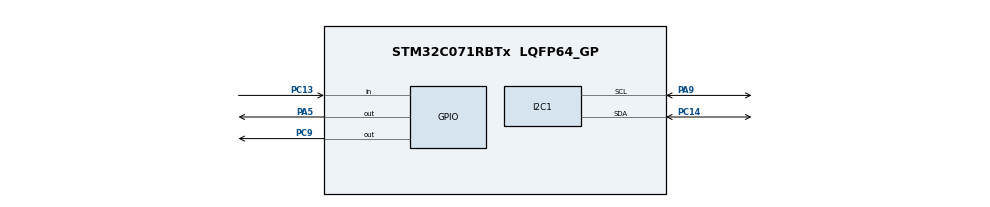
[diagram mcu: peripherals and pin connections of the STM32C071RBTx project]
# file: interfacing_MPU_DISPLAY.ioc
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I2C1.CustomTiming=Enabled
I2C1.Timing=0x00402D41
Mcu.Family=STM32C0
Mcu.Name=STM32C071RBTx
Mcu.Package=LQFP64_GP
NUCLEO-C071RB.BUTTON=1
NUCLEO-C071RB.LD1=true
NUCLEO-C071RB.LD2=true
NUCLEO-C071RB.VCP=true
NVIC.EXTI4_15_IRQn=true\:0\:0\:false\:false\:true\:false\:true\:true
PA2.Signal=USART2_TX
PA3.Signal=USART2_RX
PA5.Signal=GPIO_Output
PA9.Mode=I2C
PA9.Signal=I2C1_SCL
PC13.Signal=GPIO_Input
PC14-OSCX_IN(PC14).Mode=I2C
PC14-OSCX_IN(PC14).Signal=I2C1_SDA
PC9.Signal=GPIO_Output
PF0-OSC_IN(PF0).Mode=HSE-External-Oscillator
PF0-OSC_IN(PF0).Signal=RCC_OSC_IN
PF1-OSC_OUT(PF1).Mode=HSE-External-Oscillator
PF1-OSC_OUT(PF1).Signal=RCC_OSC_OUT
ProjectManager.HeapSize=0x200
ProjectManager.StackSize=0x400
ProjectManager.TargetToolchain=STM32CubeIDE
RCC.ADCFreq_Value=48000000
RCC.AHBFreq_Value=48000000
RCC.CortexFreq_Value=48000000
RCC.EXTERNAL_CLOCK_VALUE=12288000
RCC.HCLKFreq_Value=48000000
RCC.HSE_VALUE=8000000
RCC.HSI48_VALUE=48000000
RCC.HSI_VALUE=48000000
RCC.LSE_VALUE=32768
RCC.SYSCLKFreq_VALUE=48000000
RCC.SYSCLKSource=RCC_SYSCLKSOURCE_HSIUSB48
VP_NUCLEO-C071RB_VS_BSP_COMMON.Mode=COMMON
board=NUCLEO-C071RB

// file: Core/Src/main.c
/* USER CODE BEGIN Header */
/**
  ******************************************************************************
  * @file           : main.c
  * @brief          : Main program body
  ******************************************************************************
  *This program interfaces an MPU and lcd display.
  *The lcd display will display imu data
  *
  ******************************************************************************
  */
/* USER CODE END Header */
#include "main.h"

/* USER CODE BEGIN Includes */
#include "i2c-lcd.h"

/* USER CODE END Includes */

COM_InitTypeDef BspCOMInit;

I2C_HandleTypeDef hi2c1;

void SystemClock_Config(void);
static void MX_GPIO_Init(void);
static void MX_I2C1_Init(void);

/* USER CODE BEGIN 0 */
#define MPU6050_ADDR 0xD0

#define SMPLRT_DIV_REG 0x19
#define GYRO_CONFIG_REG 0x1B
#define ACCEL_CONFIG_REG 0x1C
#define ACCEL_XOUT_H_REG 0x3B
#define TEMP_OUT_H_REG 0x41
#define GYRO_XOUT_H_REG 0x43
#define PWR_MGMT_1_REG 0x6B
#define WHO_AM_I_REG 0x75

void MPU6050_Init(void){
	uint8_t check, Data;
	//check device ID WHO_AM_I
	HAL_I2C_Mem_Read(&hi2c1, MPU6050 ADDR, WHO_AM_I_REG,1, &check, 1, 1000);

	if(check==104) // if the device is present
	{
		//check power management register 0x6B we should write all zeros according to data sheet to wake up mpu
		Data = 0;
		HAL_I2C_Mem_Write(&hi2c1, MPU6050_ADDR, PWR_MGMT_1_REG, 1, &Data, 1, 1000);
	}
}

/* USER CODE END 0 */

int main(void)
{

  /* MCU Configuration--------------------------------------------------------*/

  /* Reset of all peripherals, Initializes the Flash interface and the Systick. */
  HAL_Init();

  /* Configure the system clock */
  SystemClock_Config();

  /* Initialize all configured peripherals */
  MX_GPIO_Init();
  MX_I2C1_Init();

  /* Initialize leds */
  BSP_LED_Init(LED_GREEN);
  BSP_LED_Init(LED_BLUE);

  /* Initialize USER push-button, will be used to trigger an interrupt each time it's pressed.*/
  BSP_PB_Init(BUTTON_USER, BUTTON_MODE_EXTI);

  /* Initialize COM1 port (115200, 8 bits (7-bit data + 1 stop bit), no parity */
  BspCOMInit.BaudRate   = 115200;
  BspCOMInit.WordLength = COM_WORDLENGTH_8B;
  BspCOMInit.StopBits   = COM_STOPBITS_1;
  BspCOMInit.Parity     = COM_PARITY_NONE;
  BspCOMInit.HwFlowCtl  = COM_HWCONTROL_NONE;
  if (BSP_COM_Init(COM1, &BspCOMInit) != BSP_ERROR_NONE)
  {
    Error_Handler();
  }

  /* Infinite loop */
  while (1)
  {

  }
}

void SystemClock_Config(void)
{
  RCC_OscInitTypeDef RCC_OscInitStruct = {0};
  RCC_ClkInitTypeDef RCC_ClkInitStruct = {0};

  __HAL_FLASH_SET_LATENCY(FLASH_LATENCY_1);

  /** Initializes the RCC Oscillators according to the specified parameters
  * in the RCC_OscInitTypeDef structure.
  */
  RCC_OscInitStruct.OscillatorType = RCC_OSCILLATORTYPE_HSI48;
  RCC_OscInitStruct.HSI48State = RCC_HSI48_ON;

  if (HAL_RCC_OscConfig(&RCC_OscInitStruct) != HAL_OK)
  {
    Error_Handler();
  }

  /** Initializes the CPU, AHB and APB buses clocks
  */
  RCC_ClkInitStruct.ClockType = RCC_CLOCKTYPE_HCLK|RCC_CLOCKTYPE_SYSCLK
                              |RCC_CLOCKTYPE_PCLK1;
  RCC_ClkInitStruct.SYSCLKSource = RCC_SYSCLKSOURCE_HSIUSB48;
  RCC_ClkInitStruct.SYSCLKDivider = RCC_SYSCLK_DIV1;
  RCC_ClkInitStruct.AHBCLKDivider = RCC_HCLK_DIV1;
  RCC_ClkInitStruct.APB1CLKDivider = RCC_APB1_DIV1;

  if (HAL_RCC_ClockConfig(&RCC_ClkInitStruct, FLASH_LATENCY_1) != HAL_OK)
  {
    Error_Handler();
  }
}

static void MX_I2C1_Init(void)
{

  hi2c1.Instance = I2C1;
  hi2c1.Init.Timing = 0x00402D41;
  hi2c1.Init.OwnAddress1 = 0;
  hi2c1.Init.AddressingMode = I2C_ADDRESSINGMODE_7BIT;
  hi2c1.Init.DualAddressMode = I2C_DUALADDRESS_DISABLE;
  hi2c1.Init.OwnAddress2 = 0;
  hi2c1.Init.OwnAddress2Masks = I2C_OA2_NOMASK;
  hi2c1.Init.GeneralCallMode = I2C_GENERALCALL_DISABLE;
  hi2c1.Init.NoStretchMode = I2C_NOSTRETCH_DISABLE;
  if (HAL_I2C_Init(&hi2c1) != HAL_OK)
  {
    Error_Handler();
  }

  /** Configure Analogue filter
  */
  if (HAL_I2CEx_ConfigAnalogFilter(&hi2c1, I2C_ANALOGFILTER_ENABLE) != HAL_OK)
  {
    Error_Handler();
  }

  /** Configure Digital filter
  */
  if (HAL_I2CEx_ConfigDigitalFilter(&hi2c1, 0) != HAL_OK)
  {
    Error_Handler();
  }

}

static void MX_GPIO_Init(void)
{

  /* GPIO Ports Clock Enable */
  __HAL_RCC_GPIOC_CLK_ENABLE();
  __HAL_RCC_GPIOF_CLK_ENABLE();
  __HAL_RCC_GPIOA_CLK_ENABLE();

}

void Error_Handler(void)
{
  __disable_irq();
  while (1)
  {
  }
}
